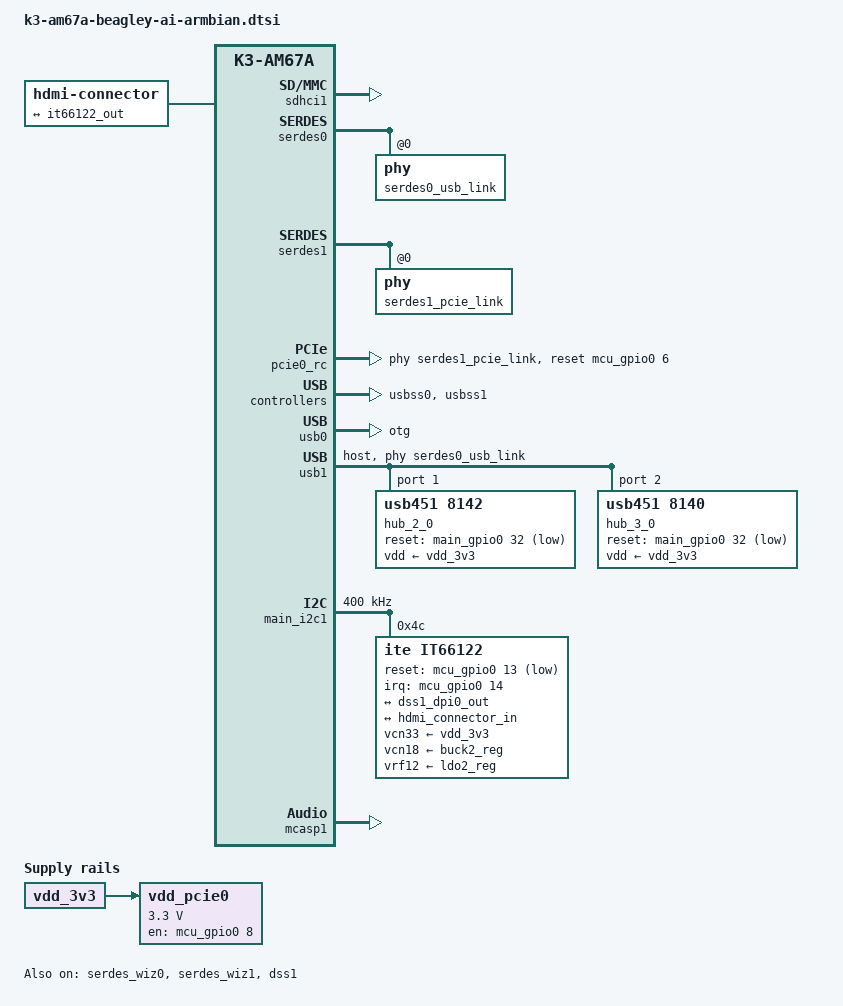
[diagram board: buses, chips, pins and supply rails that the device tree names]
// SPDX-License-Identifier: GPL-2.0-only OR MIT
/*
 * Armbian board supplement for BeagleY-AI.
 *
 * Keep board-local USB, PCIe, HDMI, and audio wiring outside the
 * upstream-maintained base DTS so kernel updates can carry their normal
 * device-tree fixes unchanged.
 */

#include <dt-bindings/phy/phy.h>
#include "k3-serdes.h"

&{/aliases} {
	usb0 = &usb0;
	usb1 = &usb1;
};

/ {
	vdd_pcie0: regulator-pcie0 {
		compatible = "regulator-fixed";
		regulator-name = "vdd_pcie0";
		pinctrl-names = "default";
		pinctrl-0 = <&pcie0_3v3_pins_default>;
		regulator-min-microvolt = <3300000>;
		regulator-max-microvolt = <3300000>;
		vin-supply = <&vdd_3v3>;
		enable-active-high;
		gpio = <&mcu_gpio0 8 GPIO_ACTIVE_HIGH>;
		regulator-always-on;
		regulator-boot-on;
	};

	hdmi0: connector-hdmi {
		compatible = "hdmi-connector";
		label = "hdmi";
		type = "d";

		port {
			hdmi_connector_in: endpoint {
				remote-endpoint = <&it66122_out>;
			};
		};
	};

	sound0: sound {
		compatible = "simple-audio-card";
		simple-audio-card,name = "it66122 HDMI";
		simple-audio-card,format = "i2s";
		simple-audio-card,bitclock-master = <&hdmi_dailink_master>;
		simple-audio-card,frame-master = <&hdmi_dailink_master>;

		hdmi_dailink_master: simple-audio-card,cpu {
			sound-dai = <&mcasp1>;
			system-clock-direction-out;
		};

		simple-audio-card,codec {
			sound-dai = <&it66122>;
		};
	};
};

&vdd_3v3 {
	regulator-always-on;
	regulator-boot-on;
};

&main_pmx0 {
	main_usb1_pins_default: main-usb1-default-pins {
		pinctrl-single,pins = <
			J722S_IOPAD(0x0258, PIN_INPUT, 0) /* (B27) USB1_DRVVBUS */
		>;
	};

	usb_hub_pins_default: usb-hub-default-pins {
		pinctrl-single,pins = <
			J722S_IOPAD(0x0084, PIN_OUTPUT, 7) /* (N21) GPMC0_ADVn_ALE.GPIO0_32 */
		>;
	};

	main_i2c1_pins_default: main-i2c1-default-pins {
		pinctrl-single,pins = <
			J722S_IOPAD(0x01e8, PIN_INPUT_PULLUP, 0) /* (C24) I2C1_SCL */
			J722S_IOPAD(0x01ec, PIN_INPUT_PULLUP, 0) /* (A22) I2C1_SDA */
		>;
		bootph-all;
	};

	main_gpio0_ioexp_intr_pins_default: main-gpio0-ioexp-intr-default-pins {
		pinctrl-single,pins = <
			J722S_IOPAD(0x0110, PIN_INPUT, 7) /* (G27) MMC2_DAT1.GPIO0_67 */
		>;
	};

	dss1_pins_default: dss1-default-pins {
		pinctrl-single,pins = <
			J722S_IOPAD(0x0100, PIN_OUTPUT, 0) /* (AB23) VOUT0_VSYNC */
			J722S_IOPAD(0x00f8, PIN_OUTPUT, 0) /* (AB24) VOUT0_HSYNC */
			J722S_IOPAD(0x0104, PIN_OUTPUT, 0) /* (AC26) VOUT0_PCLK */
			J722S_IOPAD(0x00fc, PIN_OUTPUT, 0) /* (AC27) VOUT0_DE */
			J722S_IOPAD(0x00b8, PIN_OUTPUT, 0) /* (W27) VOUT0_DATA0 */
			J722S_IOPAD(0x00bc, PIN_OUTPUT, 0) /* (W25) VOUT0_DATA1 */
			J722S_IOPAD(0x00c0, PIN_OUTPUT, 0) /* (W24) VOUT0_DATA2 */
			J722S_IOPAD(0x00c4, PIN_OUTPUT, 0) /* (W23) VOUT0_DATA3 */
			J722S_IOPAD(0x00c8, PIN_OUTPUT, 0) /* (W22) VOUT0_DATA4 */
			J722S_IOPAD(0x00cc, PIN_OUTPUT, 0) /* (W21) VOUT0_DATA5 */
			J722S_IOPAD(0x00d0, PIN_OUTPUT, 0) /* (Y26) VOUT0_DATA6 */
			J722S_IOPAD(0x00d4, PIN_OUTPUT, 0) /* (Y27) VOUT0_DATA7 */
			J722S_IOPAD(0x00d8, PIN_OUTPUT, 0) /* (AA24) VOUT0_DATA8 */
			J722S_IOPAD(0x00dc, PIN_OUTPUT, 0) /* (AA27) VOUT0_DATA9 */
			J722S_IOPAD(0x00e0, PIN_OUTPUT, 0) /* (AA25) VOUT0_DATA10 */
			J722S_IOPAD(0x00e4, PIN_OUTPUT, 0) /* (AB25) VOUT0_DATA11 */
			J722S_IOPAD(0x00e8, PIN_OUTPUT, 0) /* (AA23) VOUT0_DATA12 */
			J722S_IOPAD(0x00ec, PIN_OUTPUT, 0) /* (AA22) VOUT0_DATA13 */
			J722S_IOPAD(0x00f0, PIN_OUTPUT, 0) /* (AB26) VOUT0_DATA14 */
			J722S_IOPAD(0x00f4, PIN_OUTPUT, 0) /* (AB27) VOUT0_DATA15 */
			J722S_IOPAD(0x005c, PIN_OUTPUT, 1) /* (AC25) GPMC0_AD8.VOUT0_DATA16 */
			J722S_IOPAD(0x0060, PIN_OUTPUT, 1) /* (U26) GPMC0_AD9.VOUT0_DATA17 */
			J722S_IOPAD(0x0064, PIN_OUTPUT, 1) /* (V27) GPMC0_AD10.VOUT0_DATA18 */
			J722S_IOPAD(0x0068, PIN_OUTPUT, 1) /* (V25) GPMC0_AD11.VOUT0_DATA19 */
			J722S_IOPAD(0x006c, PIN_OUTPUT, 1) /* (V26) GPMC0_AD12.VOUT0_DATA20 */
			J722S_IOPAD(0x0070, PIN_OUTPUT, 1) /* (V24) GPMC0_AD13.VOUT0_DATA21 */
			J722S_IOPAD(0x0074, PIN_OUTPUT, 1) /* (V22) GPMC0_AD14.VOUT0_DATA22 */
			J722S_IOPAD(0x0078, PIN_OUTPUT, 1) /* (V23) GPMC0_AD15.VOUT0_DATA23 */
		>;
	};

	main_mcasp1_pins_default: main-mcasp1-default-pins {
		pinctrl-single,pins = <
			J722S_IOPAD(0x0090, PIN_INPUT, 2) /* (P27) GPMC0_BE0n_CLE.MCASP1_ACLKX */
			J722S_IOPAD(0x0098, PIN_INPUT, 2) /* (V21) GPMC0_WAIT0.MCASP1_AFSX */
			J722S_IOPAD(0x008c, PIN_INPUT, 2) /* (N23) GPMC0_WEn.MCASP1_AXR0 */
		>;
	};
};

&mcu_pmx0 {
	pcie_pins_default: pcie-default-pins {
		pinctrl-single,pins = <
			J722S_MCU_IOPAD(0x0018, PIN_OUTPUT, 7) /* (B4) MCU_UART0_TXD.MCU_GPIO0_6 */
			J722S_MCU_IOPAD(0x0014, PIN_INPUT, 7) /* (B8) MCU_UART0_RXD.MCU_GPIO0_5 */
		>;
		bootph-all;
	};

	pcie0_3v3_pins_default: pcie0-3v3-default-pins {
		pinctrl-single,pins = <
			J722S_MCU_IOPAD(0x0020, PIN_OUTPUT, 7) /* (C5) MCU_UART0_RTSn.MCU_GPIO0_8 */
		>;
	};

	hdmi_gpio_pins_default: hdmi-gpio-default-pins {
		pinctrl-single,pins = <
			J722S_MCU_IOPAD(0x0038, PIN_INPUT_PULLUP | PIN_DEBOUNCE_CONF6, 7) /* (D8) MCU_MCAN0_RX.MCU_GPIO0_14 HDMI_INTn */
			J722S_MCU_IOPAD(0x0034, PIN_OUTPUT_PULLUP, 7) /* (B2) MCU_MCAN0_TX.MCU_GPIO0_13 HDMI_RSTn */
		>;
	};
};

&main_gpio0 {
	status = "okay";
};

&mcu_gpio0 {
	status = "okay";
};

&sdhci1 {
	status = "okay";
};

&serdes_ln_ctrl {
	idle-states = <J722S_SERDES0_LANE0_USB>,
		      <J722S_SERDES1_LANE0_PCIE0_LANE0>;
};

&serdes_wiz0 {
	status = "okay";
};

&serdes0 {
	status = "okay";

	serdes0_usb_link: phy@0 {
		reg = <0>;
		cdns,num-lanes = <1>;
		#phy-cells = <0>;
		cdns,phy-type = <PHY_TYPE_USB3>;
		resets = <&serdes_wiz0 1>;
	};
};

&serdes_wiz1 {
	status = "okay";
};

&serdes1 {
	status = "okay";

	serdes1_pcie_link: phy@0 {
		reg = <0>;
		cdns,num-lanes = <1>;
		#phy-cells = <0>;
		cdns,phy-type = <PHY_TYPE_PCIE>;
		resets = <&serdes_wiz1 1>;
	};
};

&pcie0_rc {
	status = "okay";
	pinctrl-names = "default";
	pinctrl-0 = <&pcie_pins_default>;
	phys = <&serdes1_pcie_link>;
	phy-names = "pcie-phy";
	reset-gpios = <&mcu_gpio0 6 GPIO_ACTIVE_HIGH>;
};

&usbss0 {
	ti,vbus-divider;
	status = "okay";
};

&usb0 {
	dr_mode = "otg";
	usb-role-switch;
};

&usbss1 {
	pinctrl-names = "default";
	pinctrl-0 = <&main_usb1_pins_default>;
	ti,vbus-divider;
	status = "okay";
};

&usb1 {
	dr_mode = "host";
	maximum-speed = "super-speed";
	phys = <&serdes0_usb_link>;
	phy-names = "cdns3,usb3-phy";

	#address-cells = <1>;
	#size-cells = <0>;
	pinctrl-names = "default";
	pinctrl-0 = <&usb_hub_pins_default>;
	status = "okay";

	/* USB 2.0 hub on port 1 */
	hub_2_0: hub@1 {
		compatible = "usb451,8142";
		reg = <1>;
		peer-hub = <&hub_3_0>;
		reset-gpios = <&main_gpio0 32 GPIO_ACTIVE_LOW>;
		vdd-supply = <&vdd_3v3>;
	};

	/* USB 3.0 hub on port 2 */
	hub_3_0: hub@2 {
		compatible = "usb451,8140";
		reg = <2>;
		peer-hub = <&hub_2_0>;
		reset-gpios = <&main_gpio0 32 GPIO_ACTIVE_LOW>;
		vdd-supply = <&vdd_3v3>;
	};
};

&main_i2c1 {
	status = "okay";
	pinctrl-names = "default";
	pinctrl-0 = <&main_i2c1_pins_default>;
	clock-frequency = <400000>;
	bootph-all;

	it66122: bridge-hdmi@4c {
		compatible = "ite,it66122";
		reg = <0x4c>;
		pinctrl-names = "default";
		pinctrl-0 = <&hdmi_gpio_pins_default>;
		vcn33-supply = <&vdd_3v3>;
		vcn18-supply = <&buck2_reg>;
		vrf12-supply = <&ldo2_reg>;
		reset-gpios = <&mcu_gpio0 13 GPIO_ACTIVE_LOW>;
		interrupt-parent = <&mcu_gpio0>;
		interrupts = <14 IRQ_TYPE_EDGE_FALLING>;
		#sound-dai-cells = <0>;

		ports {
			#address-cells = <1>;
			#size-cells = <0>;

			/*
			 * HDMI can be serviced with 3 potential VPs -
			 * (DSS0 VP1 / DSS1 VP0 / DSS1 VP1).
			 * For now, we will service it with DSS0 VP1.
			 */
			port@0 {
				reg = <0>;

				it66122_in: endpoint {
					bus-width = <24>;
					remote-endpoint = <&dss1_dpi0_out>;
				};
			};

			port@1 {
				reg = <1>;

				it66122_out: endpoint {
					remote-endpoint = <&hdmi_connector_in>;
				};
			};
		};
	};
};

&dss1 {
	status = "okay";
	pinctrl-names = "default";
	pinctrl-0 = <&dss1_pins_default>;

	clocks = <&k3_clks 232 8>,
		 <&k3_clks 232 0>,
		 <&k3_clks 232 4>;

	assigned-clocks = <&k3_clks 241 0>, /* DSS1-VP0 */
			  <&k3_clks 240 0>, /* DSS1-VP1 */
			  <&k3_clks 245 0>; /* DPI Output */

	assigned-clock-parents = <&k3_clks 241 2>, /* PLL 17 HDMI */
				 <&k3_clks 240 1>, /* PLL 18 DSI */
				 <&k3_clks 245 2>; /* DSS1-DPI0 */
};

&dss1_ports {
	/* DSS1-VP1: DPI/HDMI Output */
	port@0 {
		reg = <0>;

		dss1_dpi0_out: endpoint {
			remote-endpoint = <&it66122_in>;
		};
	};
};

&mcasp1 {
	status = "okay";
	#sound-dai-cells = <0>;
	pinctrl-names = "default";
	pinctrl-0 = <&main_mcasp1_pins_default>;
	auxclk-fs-ratio = <2177>;
	op-mode = <0>; /* MCASP_IIS_MODE */
	tdm-slots = <2>;
	serial-dir = <  /* 0: INACTIVE, 1: TX, 2: RX */
	       1 0 0 0
	       0 0 0 0
	       0 0 0 0
	       0 0 0 0
	>;
	tx-num-evt = <32>;
	rx-num-evt = <32>;
};
